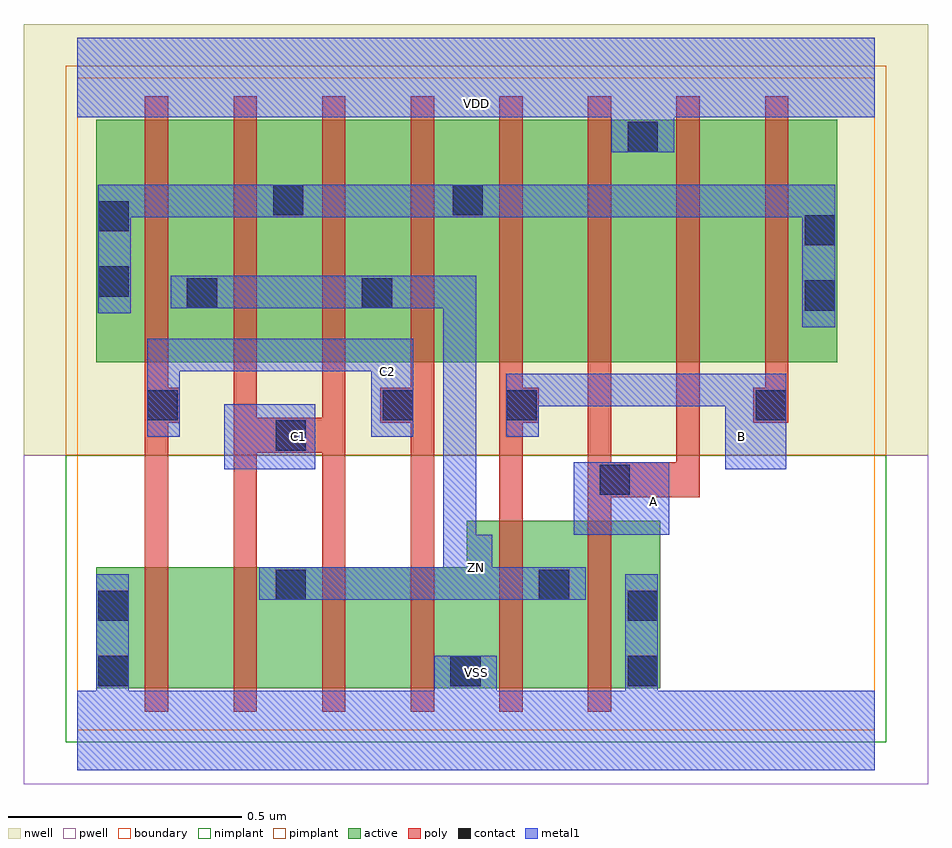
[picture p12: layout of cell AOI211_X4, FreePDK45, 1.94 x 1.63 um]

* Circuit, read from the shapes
.subckt AOI211_X4 A B C1 C2 VDD VSS ZN
M1 n1 C2 VSS VSUBS nfet w=0.26u l=0.05u
M2 ZN C1 n1 VSUBS nfet w=0.26u l=0.05u
M3 n2 C1 ZN VSUBS nfet w=0.26u l=0.05u
M4 VSS C2 n2 VSUBS nfet w=0.26u l=0.05u
M5 ZN B VSS VSUBS nfet w=0.36u l=0.05u
M6 VSS A ZN VSUBS nfet w=0.36u l=0.05u
M7 ZN C2 n3 n4 pfet w=0.52u l=0.05u m=2
M8 n3 C1 ZN n4 pfet w=0.52u l=0.05u m=2
M9 n5 B n3 n4 pfet w=0.52u l=0.05u
M10 VDD A n5 n4 pfet w=0.52u l=0.05u
M11 n6 A VDD n4 pfet w=0.52u l=0.05u
M12 n3 B n6 n4 pfet w=0.52u l=0.05u
.ends

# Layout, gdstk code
import gdstk
lib = gdstk.Library(unit=1e-6, precision=1e-10)
def R(c, l, rs):  # rectangles x0, y0, x1, y1
    for r in rs: c.add(gdstk.rectangle(r[:2], r[2:], *l))
def P(c, l, *ps):  # polygons
    for p in ps: c.add(gdstk.Polygon(p, *l))
active = (1, 0)
pwell = (2, 0)
nwell = (3, 0)
nimplant = (4, 0)
pimplant = (5, 0)
poly = (9, 0)
contact = (10, 0)
metal1 = (11, 0)
boundary = (235, 0)

aoi211_x4 = lib.new_cell('AOI211_X4')
R(aoi211_x4, active, [(0.04,0.79,1.63,1.31)])
P(aoi211_x4, active, [(0.04,0.09),(1.25,0.09),(1.25,0.45),(0.835,0.45),(0.835,0.35),(0.04,0.35)])
R(aoi211_x4, pwell, [(-0.115,-0.115,1.825,0.59)])
R(aoi211_x4, nwell, [(-0.115,0.59,1.825,1.515)])
R(aoi211_x4, nimplant, [(-0.025,-0.025,1.735,0.59)])
R(aoi211_x4, pimplant, [(-0.025,0.59,1.735,1.425)])
P(aoi211_x4, poly, [(0.145,0.04),(0.195,0.04),(0.195,0.66),(0.22,0.66),(0.22,0.735),(0.195,0.735),(0.195,1.36),(0.145,1.36)],
  [(0.335,0.04),(0.385,0.04),(0.385,0.595),(0.525,0.595),(0.525,0.04),(0.575,0.04),(0.575,1.36),(0.525,1.36),(0.525,0.67),(0.385,0.67),(0.385,1.36),(0.335,1.36)],
  [(0.65,0.66),(0.715,0.66),(0.715,0.04),(0.765,0.04),(0.765,1.36),(0.715,1.36),(0.715,0.735),(0.65,0.735)],
  [(0.905,0.04),(0.955,0.04),(0.955,0.66),(0.99,0.66),(0.99,0.735),(0.955,0.735),(0.955,1.36),(0.905,1.36)],
  [(1.095,0.04),(1.145,0.04),(1.145,0.5),(1.335,0.5),(1.335,1.36),(1.285,1.36),(1.285,0.575),(1.145,0.575),(1.145,1.36),(1.095,1.36)],
  [(1.45,0.66),(1.525,0.66),(1.525,1.36),(1.475,1.36),(1.475,0.735),(1.45,0.735)])
R(aoi211_x4, contact, [(0.045,0.095,0.11,0.16), (0.8,0.095,0.865,0.16), (1.18,0.095,1.245,0.16), (0.045,0.235,0.11,0.3), (1.18,0.235,1.245,0.3), (0.425,0.28,0.49,0.345), (0.99,0.28,1.055,0.345), (1.12,0.505,1.185,0.57), (0.425,0.6,0.49,0.665), (0.15,0.665,0.215,0.73), (0.655,0.665,0.72,0.73), (0.92,0.665,0.985,0.73), (1.455,0.665,1.52,0.73), (1.56,0.9,1.625,0.965), (0.235,0.905,0.3,0.97), (0.61,0.905,0.675,0.97), (0.045,0.93,0.11,0.995), (1.56,1.04,1.625,1.105), (0.045,1.07,0.11,1.135), (0.42,1.105,0.485,1.17), (0.805,1.105,0.87,1.17), (1.18,1.24,1.245,1.305)])
R(aoi211_x4, metal1, [(1.065,0.42,1.27,0.575), (0.315,0.56,0.51,0.7)])
P(aoi211_x4, metal1, [(0.15,0.63),(0.22,0.63),(0.22,0.77),(0.63,0.77),(0.63,0.63),(0.72,0.63),(0.72,0.84),(0.15,0.84)],
  [(0.2,0.905),(0.785,0.905),(0.785,0.35),(0.39,0.35),(0.39,0.28),(1.09,0.28),(1.09,0.35),(0.89,0.35),(0.89,0.42),(0.855,0.42),(0.855,0.975),(0.2,0.975)],
  [(0.92,0.63),(0.99,0.63),(0.99,0.695),(1.39,0.695),(1.39,0.56),(1.52,0.56),(1.52,0.765),(0.92,0.765)],
  [(0.045,0.895),(0.115,0.895),(0.115,1.1),(1.555,1.1),(1.555,0.865),(1.625,0.865),(1.625,1.17),(0.045,1.17)],
  [(0,-0.085),(1.71,-0.085),(1.71,0.085),(1.245,0.085),(1.245,0.335),(1.175,0.335),(1.175,0.085),(0.9,0.085),(0.9,0.16),(0.765,0.16),(0.765,0.085),(0.11,0.085),(0.11,0.335),(0.04,0.335),(0.04,0.085),(0,0.085)],
  [(0,1.315),(1.145,1.315),(1.145,1.24),(1.28,1.24),(1.28,1.315),(1.71,1.315),(1.71,1.485),(0,1.485)])
R(aoi211_x4, boundary, [(0,0,1.71,1.4)])
aoi211_x4.add(gdstk.Label('A', (1.235,0.49), layer=11, texttype=0))
aoi211_x4.add(gdstk.Label('B', (1.425,0.63), layer=11, texttype=0))
aoi211_x4.add(gdstk.Label('C1', (0.475,0.63), layer=11, texttype=0))
aoi211_x4.add(gdstk.Label('C2', (0.665,0.77), layer=11, texttype=0))
aoi211_x4.add(gdstk.Label('VDD', (0.855,1.345), layer=11, texttype=0))
aoi211_x4.add(gdstk.Label('VSS', (0.855,0.125), layer=11, texttype=0))
aoi211_x4.add(gdstk.Label('ZN', (0.855,0.35), layer=11, texttype=0))

lib.write_gds('AOI211_X4.gds')
